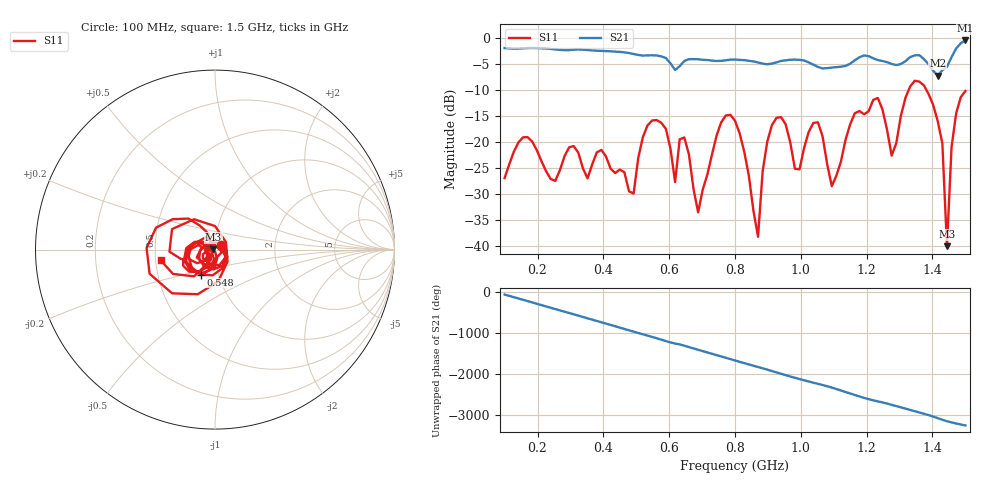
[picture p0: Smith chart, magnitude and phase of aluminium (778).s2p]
! NanoVNA-App
! Date: 2025-09-25 15:01:20
! Start: 100MHz Stop: 1,5GHz Points: 101
! S-Parameter data: F S11 S21 S12 S22
# Hz S RI R 50
!  Frequency  S11_Real  S11_Imag  S21_Real  S21_Imag  S12_Real  S12_Imag  S22_Real  S22_Imag
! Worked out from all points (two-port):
!   101 points, 100 MHz to 1.5 GHz, reference 50 ohm
!   highest |S21| = -0.45 dB at 1.5 GHz (marker M1); lowest = -7.2 dB at 1.416 GHz (marker M2)
!   |S21| within 3 dB of the highest: start of sweep to 570.8 MHz; 1.46 GHz to end of sweep (the widest 2 of 4)
!   lowest |S11| = -40.1 dB at 1.444 GHz (marker M3), VSWR 1.02, Z = 49 + j0.0935 ohm
!   |S11| at or under -10 dB: start of sweep to 1.328 GHz; 1.382 GHz to end of sweep
!   S12 and S22 are empty: the file has one direction only
!   S11 on the Smith chart (normalised r, x): 100 MHz: 1.07, +0.06; 548 MHz: 0.82, -0.23; 1.5 GHz: 0.53, -0.07
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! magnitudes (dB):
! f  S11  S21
! 100 MHz  -27.0  -1.9
! 338 MHz  -25.1  -2.2
! 492 MHz  -29.9  -3.1
! 548 MHz  -15.9  -3.3
! 576 MHz  -16.3  -3.5
! 618 MHz  -27.7  -6.1
! 646 MHz  -19.1  -4.4
! 688 MHz  -33.6  -4.1
! 800 MHz  -15.9  -4.1
! 870 MHz  -38.3  -4.7
! 912 MHz  -16.8  -4.9
! 996 MHz  -25.3  -4.2
! 1.038 GHz  -16.3  -5.1
! 1.094 GHz  -28.5  -5.7
! 1.22 GHz  -11.9  -3.9
! 1.276 GHz  -22.6  -5.0
! 1.346 GHz  -8.2  -3.3
! 1.416 GHz  -16.0  -7.2
! 1.43 GHz  -20.3  -6.2
! 1.444 GHz  -40.1  -5.5
! 1.458 GHz  -20.9  -3.7
! 1.5 GHz  -10.2  -0.4
